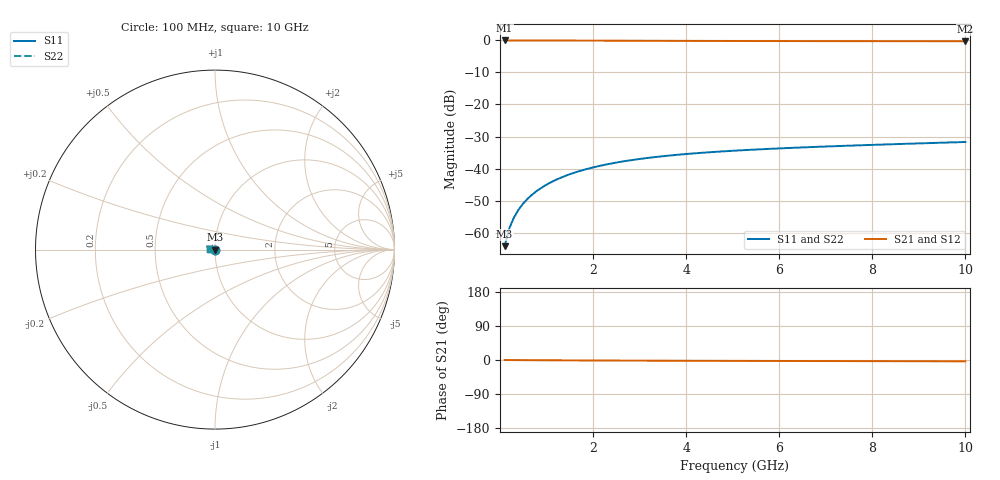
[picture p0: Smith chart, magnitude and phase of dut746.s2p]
! Touchstone file exported from HFSS 2024.1.0
!  File:  C:/UserFiles/LocalFiles/RDL_TSV_Batchsim/temp_TSV1_746_1779870847.aedt
!  Generated:  04:41:42 PM May 27, 2026
!  Design:  TSV1
!  Project:  temp_TSV1_746_1779870847
!  Setup:  Setup1
!  Solution:  Sweep
! Variables:
!  dtsv = 6.9um
!  hbump = 3um
!  htsv = 50.21um
!  lrdl = 252.1521522um
!  p = 40
!  p1 = 42.73um
!  t = 500um
!  trdl = 3um
!  wrdl = 24.89489489um
# GHz S MA R 50.000000
! Terminal data exported
! Port[1] = TSV22_T1
! Port[2] = TSV22_T2
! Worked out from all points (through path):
!   100 points, 100 MHz to 10 GHz, reference 50 ohm
!   highest |S21| = 0.00 dB at 100 MHz (marker M1); lowest = -0.2 dB at 10 GHz (marker M2)
!   lowest |S11| = -64.2 dB at 100 MHz (marker M3), VSWR 1.00, Z = 50 - j0.0575 ohm
!   |S11| at or under -10 dB: start of sweep to end of sweep
!   |S22| runs from -64.2 to -31.7 dB; largest |S21 - S12| = 5.2e-15
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0.1  0.0006131 -69.7  0.9997 -0.1  0.9997 -0.1  0.0006131 -69.7
! Gamma 0 0 0 0
! Port Impedance 50 0 50 0
0.2  0.001158 -82.4  0.9997 -0.1  0.9997 -0.1  0.001158 -82.4
0.3  0.001718 -88.2  0.9996 -0.2  0.9996 -0.2  0.001718 -88.2
0.4  0.002281 -92.0  0.9994 -0.3  0.9994 -0.3  0.002281 -92.0
0.5  0.002844 -95.1  0.9992 -0.4  0.9992 -0.4  0.002844 -95.1
0.6  0.003405 -97.7  0.999 -0.4  0.999 -0.4  0.003405 -97.7
0.7  0.003962 -100.1  0.9988 -0.5  0.9988 -0.5  0.003962 -100.1
0.8  0.004513 -102.3  0.9985 -0.6  0.9985 -0.6  0.004513 -102.3
0.9  0.005058 -104.3  0.9982 -0.6  0.9982 -0.6  0.005058 -104.3
1.1  0.006123 -108.3  0.9975 -0.8  0.9975 -0.8  0.006123 -108.3
1.4  0.007649 -113.8  0.9963 -0.9  0.9963 -0.9  0.007649 -113.8
1.6  0.008613 -117.3  0.9954 -1.1  0.9954 -1.1  0.008613 -117.3
1.8  0.009533 -120.6  0.9945 -1.2  0.9945 -1.2  0.009533 -120.6
2.1  0.01082 -125.4  0.9931 -1.3  0.9931 -1.3  0.01082 -125.4
2.5  0.01239 -131.4  0.9911 -1.5  0.9911 -1.5  0.01239 -131.4
2.9  0.01377 -136.9  0.9892 -1.7  0.9892 -1.7  0.01377 -136.9
3.4  0.01529 -143.3  0.987 -1.8  0.987 -1.8  0.01529 -143.3
4.2  0.0173 -152.3  0.9838 -2.1  0.9838 -2.1  0.0173 -152.3
5.1  0.01911 -161.1  0.9808 -2.3  0.9808 -2.3  0.01911 -161.1
6.7  0.02165 -173.9  0.977 -2.7  0.977 -2.7  0.02165 -173.9
8.4  0.02392 175.2  0.9743 -3.1  0.9743 -3.1  0.02392 175.2
10  0.02596 166.7  0.9725 -3.5  0.9725 -3.5  0.02596 166.7
